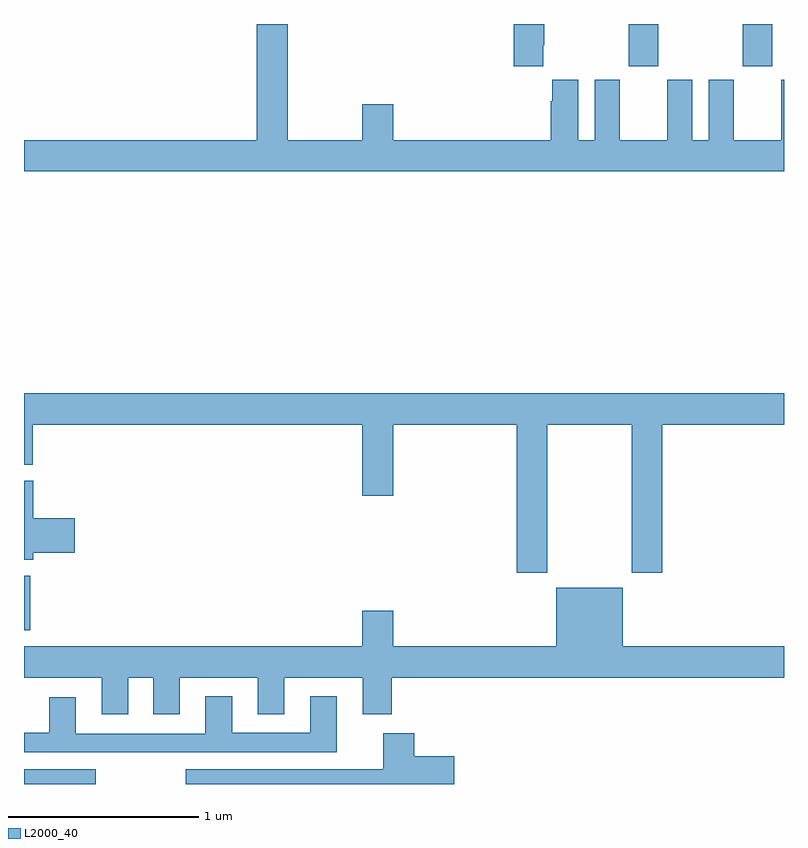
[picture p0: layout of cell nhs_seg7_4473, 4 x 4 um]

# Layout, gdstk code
import gdstk
lib = gdstk.Library(unit=1e-6, precision=1e-09)
def R(c, l, rs):  # rectangles x0, y0, x1, y1
    for r in rs: c.add(gdstk.rectangle(r[:2], r[2:], *l))
def P(c, l, *ps):  # polygons
    for p in ps: c.add(gdstk.Polygon(p, *l))
L2000_40 = (2000, 40)

nhs_seg7_4473 = lib.new_cell('nhs_seg7_4473')
R(nhs_seg7_4473, L2000_40, [(391,1056,391.378,1056.078), (391,1056.81,391.034,1057.095), (394.183,1059.777,394.338,1060), (394.783,1059.777,394.938,1060)])
P(nhs_seg7_4473, L2000_40, [(395,1059.706),(394.985,1059.706),(394.985,1059.388),(394.735,1059.388),(394.735,1059.706),(394.604,1059.706),(394.604,1059.388),(394.516,1059.388),(394.516,1059.706),(394.385,1059.706),(394.385,1059.388),(394.135,1059.388),(394.135,1059.706),(394.004,1059.706),(394.004,1059.388),(393.916,1059.388),(393.916,1059.706),(393.779,1059.706),(393.779,1059.593),(393.773,1059.593),(393.773,1059.388),(392.944,1059.388),(392.944,1059.577),(392.78,1059.577),(392.78,1059.388),(392.389,1059.388),(392.389,1060),(392.225,1060),(392.225,1059.388),(391,1059.388),(391,1059.224),(395,1059.224)],
  [(393.733,1059.889),(393.738,1059.889),(393.738,1060),(393.578,1060),(393.578,1059.777),(393.733,1059.777)],
  [(393.753,1057.892),(394.198,1057.892),(394.198,1057.113),(394.358,1057.113),(394.358,1057.892),(395,1057.892),(395,1058.056),(391,1058.056),(391,1057.681),(391.046,1057.681),(391.046,1057.892),(392.78,1057.892),(392.78,1057.518),(392.944,1057.518),(392.944,1057.892),(393.593,1057.892),(393.593,1057.113),(393.753,1057.113)],
  [(391.049,1057.217),(391.267,1057.217),(391.267,1057.4),(391.049,1057.4),(391.049,1057.596),(391,1057.596),(391,1057.18),(391.049,1057.18)],
  [(392.78,1056.724),(391,1056.724),(391,1056.56),(391.409,1056.56),(391.409,1056.366),(391.549,1056.366),(391.549,1056.56),(391.679,1056.56),(391.679,1056.366),(391.819,1056.366),(391.819,1056.56),(392.231,1056.56),(392.231,1056.366),(392.371,1056.366),(392.371,1056.56),(392.783,1056.56),(392.783,1056.366),(392.936,1056.366),(392.936,1056.56),(395,1056.56),(395,1056.724),(394.15,1056.724),(394.15,1057.033),(393.8,1057.033),(393.8,1056.724),(392.944,1056.724),(392.944,1056.913),(392.78,1056.913)],
  [(392.647,1056.463),(392.507,1056.463),(392.507,1056.269),(392.095,1056.269),(392.095,1056.463),(391.955,1056.463),(391.955,1056.264),(391.273,1056.264),(391.273,1056.457),(391.133,1056.457),(391.133,1056.269),(391,1056.269),(391,1056.168),(392.647,1056.168)],
  [(393.265,1056.147),(393.053,1056.147),(393.053,1056.268),(392.891,1056.268),(392.891,1056.078),(391.851,1056.078),(391.851,1056),(393.265,1056)])

lib.write_gds('nhs_seg7_4473.gds')
